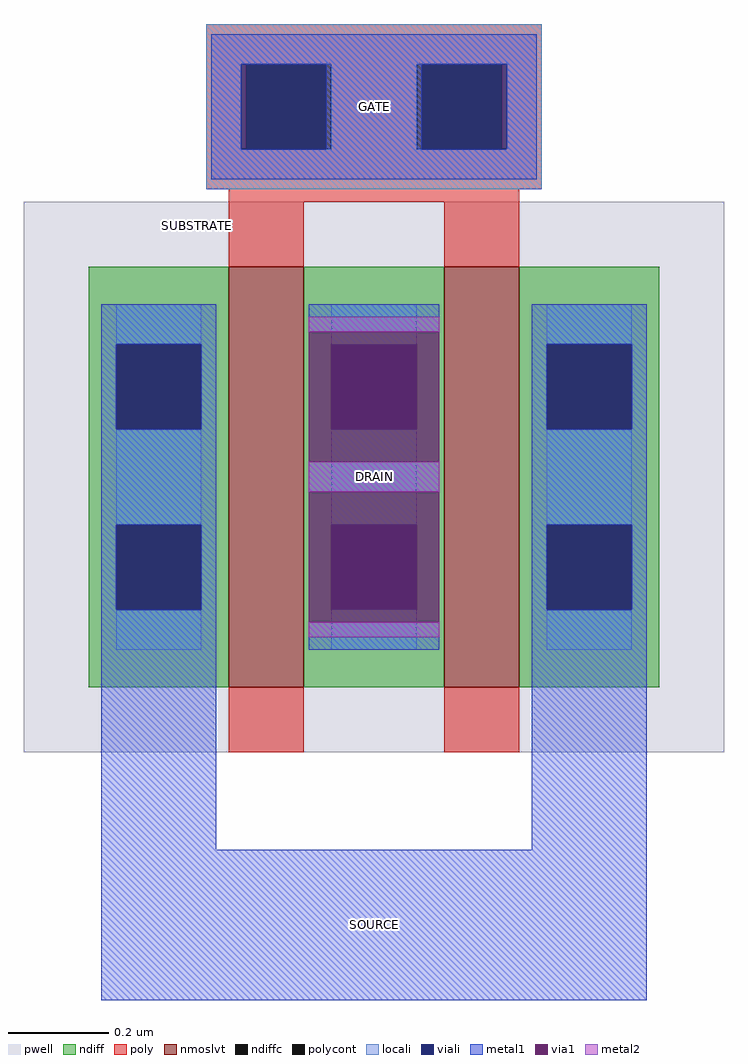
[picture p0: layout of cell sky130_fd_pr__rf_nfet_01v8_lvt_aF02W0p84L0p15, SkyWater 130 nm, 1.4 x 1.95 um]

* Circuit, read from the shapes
.subckt sky130_fd_pr__rf_nfet_01v8_lvt_aF02W0p84L0p15 DRAIN GATE SOURCE SUBSTRATE
XM1 DRAIN GATE SOURCE SUBSTRATE sky130_fd_pr__nfet_01v8_lvt w=0.84 l=0.15 m=2
.ends

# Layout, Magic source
magic
tech sky130A
magscale 1 2
<< pwell >>
rect 10 10 290 230
<< nmoslvt >>
rect 92 36 122 204
rect 178 36 208 204
<< ndiff >>
rect 36 173 92 204
rect 36 139 47 173
rect 81 139 92 173
rect 36 101 92 139
rect 36 67 47 101
rect 81 67 92 101
rect 36 36 92 67
rect 122 173 178 204
rect 122 139 133 173
rect 167 139 178 173
rect 122 101 178 139
rect 122 67 133 101
rect 167 67 178 101
rect 122 36 178 67
rect 208 173 264 204
rect 208 139 219 173
rect 253 139 264 173
rect 208 101 264 139
rect 208 67 219 101
rect 253 67 264 101
rect 208 36 264 67
<< ndiffc >>
rect 47 139 81 173
rect 47 67 81 101
rect 133 139 167 173
rect 133 67 167 101
rect 219 139 253 173
rect 219 67 253 101
<< poly >>
rect 83 285 217 301
rect 83 251 99 285
rect 133 251 167 285
rect 201 251 217 285
rect 83 235 217 251
rect 92 230 208 235
rect 92 204 122 230
rect 178 204 208 230
rect 92 10 122 36
rect 178 10 208 36
<< polycont >>
rect 99 251 133 285
rect 167 251 201 285
<< locali >>
rect 83 285 217 301
rect 83 251 97 285
rect 133 251 167 285
rect 203 251 217 285
rect 83 235 217 251
rect 47 173 81 189
rect 47 101 81 139
rect 47 51 81 67
rect 133 173 167 189
rect 133 101 167 139
rect 133 51 167 67
rect 219 173 253 189
rect 219 101 253 139
rect 219 51 253 67
<< viali >>
rect 97 251 99 285
rect 99 251 131 285
rect 169 251 201 285
rect 201 251 203 285
rect 47 139 81 173
rect 47 67 81 101
rect 133 139 167 173
rect 133 67 167 101
rect 219 139 253 173
rect 219 67 253 101
<< metal1 >>
rect 85 285 215 297
rect 85 251 97 285
rect 131 251 169 285
rect 203 251 215 285
rect 85 239 215 251
rect 41 173 87 189
rect 41 139 47 173
rect 81 139 87 173
rect 41 101 87 139
rect 41 67 47 101
rect 81 67 87 101
rect 41 -29 87 67
rect 124 178 176 189
rect 124 114 176 126
rect 124 51 176 62
rect 213 173 259 189
rect 213 139 219 173
rect 253 139 259 173
rect 213 101 259 139
rect 213 67 219 101
rect 253 67 259 101
rect 213 -29 259 67
rect 41 -89 259 -29
<< via1 >>
rect 124 173 176 178
rect 124 139 133 173
rect 133 139 167 173
rect 167 139 176 173
rect 124 126 176 139
rect 124 101 176 114
rect 124 67 133 101
rect 133 67 167 101
rect 167 67 176 101
rect 124 62 176 67
<< metal2 >>
rect 124 178 176 184
rect 124 114 176 126
rect 124 56 176 62
<< labels >>
flabel metal2 s 124 56 176 184 0 FreeSans 400 0 0 0 DRAIN
port 1 nsew
flabel metal1 s 85 239 215 297 0 FreeSans 400 0 0 0 GATE
port 2 nsew
flabel metal1 s 41 -89 259 -29 0 FreeSans 400 0 0 0 SOURCE
port 3 nsew
flabel pwell s 69 217 90 224 0 FreeSans 200 0 0 0 SUBSTRATE
port 4 nsew
<< properties >>
string GDS_FILE $PDKPATH/libs.ref/sky130_fd_pr/gds/sky130_fd_pr.gds
string GDS_END 5829794
string GDS_START 5825704
string path 5.900 4.725 5.900 -2.225 
<< end >>
